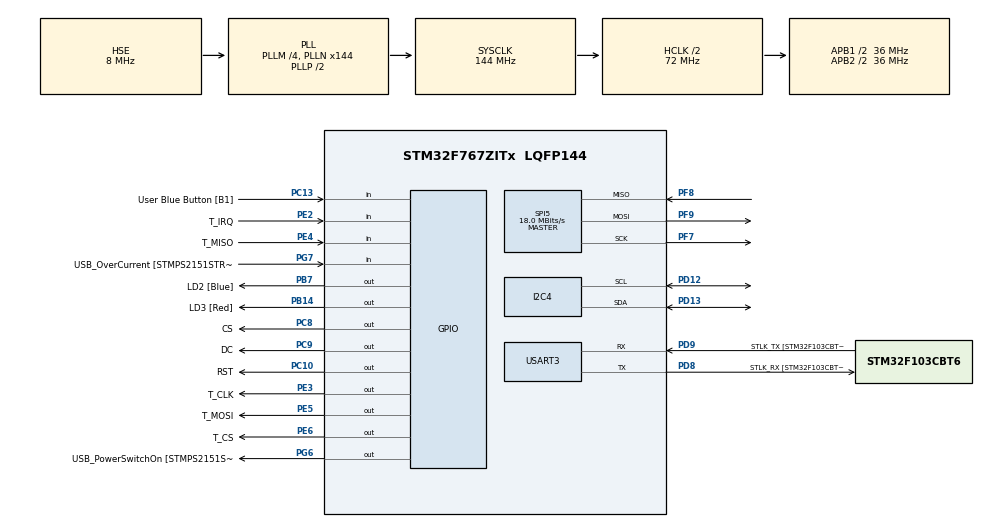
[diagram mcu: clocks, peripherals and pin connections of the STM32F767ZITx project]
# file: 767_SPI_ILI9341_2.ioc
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CORTEX_M7.ART_ACCLERATOR_ENABLE=1
CORTEX_M7.CPU_DCache=Enabled
CORTEX_M7.CPU_ICache=Enabled
CORTEX_M7.PREFETCH_ENABLE=1
I2C4.Timing=0x00808CD2
Mcu.Family=STM32F7
Mcu.Name=STM32F767ZITx
Mcu.Package=LQFP144
NVIC.PriorityGroup=NVIC_PRIORITYGROUP_2
NVIC.TIM2_IRQn=true\:2\:0\:true\:false\:true\:true\:true\:true
PA1.GPIO_Label=RMII_REF_CLK [LAN8742A-CZ-TR_REFCLK0]
PA1.Signal=ETH_REF_CLK
PA13.GPIO_Label=TMS
PA13.Mode=Serial_Wire
PA13.Signal=SYS_JTMS-SWDIO
PA14.GPIO_Label=TCK
PA14.Mode=Serial_Wire
PA14.Signal=SYS_JTCK-SWCLK
PA2.GPIO_Label=RMII_MDIO [LAN8742A-CZ-TR_MDIO]
PA2.Signal=ETH_MDIO
PA7.GPIO_Label=RMII_CRS_DV [LAN8742A-CZ-TR_CRS_DV]
PA7.Signal=ETH_CRS_DV
PB13.GPIO_Label=RMII_TXD1 [LAN8742A-CZ-TR_TXD1]
PB13.Signal=ETH_TXD1
PB14.GPIO_Label=LD3 [Red]
PB14.Signal=GPIO_Output
PB3.GPIO_Label=SWO
PB3.Signal=SYS_JTDO-SWO
PB7.GPIO_Label=LD2 [Blue]
PB7.Signal=GPIO_Output
PC1.GPIO_Label=RMII_MDC [LAN8742A-CZ-TR_MDC]
PC1.Signal=ETH_MDC
PC10.GPIO_Label=RST
PC10.GPIO_Speed=GPIO_SPEED_FREQ_VERY_HIGH
PC10.Signal=GPIO_Output
PC13.GPIO_Label=User Blue Button [B1]
PC13.Signal=GPIO_Input
PC14/OSC32_IN.Mode=LSE-External-Oscillator
PC14/OSC32_IN.Signal=RCC_OSC32_IN
PC15/OSC32_OUT.Mode=LSE-External-Oscillator
PC15/OSC32_OUT.Signal=RCC_OSC32_OUT
PC4.GPIO_Label=RMII_RXD0 [LAN8742A-CZ-TR_RXD0]
PC4.Signal=ETH_RXD0
PC5.GPIO_Label=RMII_RXD1 [LAN8742A-CZ-TR_RXD1]
PC5.Signal=ETH_RXD1
PC8.GPIO_Label=CS
PC8.GPIO_Speed=GPIO_SPEED_FREQ_VERY_HIGH
PC8.Signal=GPIO_Output
PC9.GPIO_Label=DC
PC9.GPIO_Speed=GPIO_SPEED_FREQ_VERY_HIGH
PC9.Signal=GPIO_Output
PD12.Mode=I2C
PD12.Signal=I2C4_SCL
PD13.Mode=I2C
PD13.Signal=I2C4_SDA
PD8.GPIO_Label=STLK_RX [STM32F103CBT6_PA3]
PD8.Mode=Asynchronous
PD8.Signal=USART3_TX
PD9.GPIO_Label=STLK_TX [STM32F103CBT6_PA2]
PD9.Mode=Asynchronous
PD9.Signal=USART3_RX
PE2.GPIO_Label=T_IRQ
PE2.Signal=GPIO_Input
PE3.GPIO_Label=T_CLK
PE3.GPIO_Speed=GPIO_SPEED_FREQ_VERY_HIGH
PE3.Signal=GPIO_Output
PE4.GPIO_Label=T_MISO
PE4.Signal=GPIO_Input
PE5.GPIO_Label=T_MOSI
PE5.GPIO_Speed=GPIO_SPEED_FREQ_VERY_HIGH
PE5.Signal=GPIO_Output
PE6.GPIO_Label=T_CS
PE6.GPIO_Speed=GPIO_SPEED_FREQ_VERY_HIGH
PE6.Signal=GPIO_Output
PF7.Mode=Full_Duplex_Master
PF7.Signal=SPI5_SCK
PF8.Mode=Full_Duplex_Master
PF8.Signal=SPI5_MISO
PF9.Mode=Full_Duplex_Master
PF9.Signal=SPI5_MOSI
PG11.GPIO_Label=RMII_TX_EN [LAN8742A-CZ-TR_TXEN]
PG11.Signal=ETH_TX_EN
PG13.GPIO_Label=RMII_TXD0 [LAN8742A-CZ-TR_TXD0]
PG13.Signal=ETH_TXD0
PG6.GPIO_Label=USB_PowerSwitchOn [STMPS2151STR_EN]
PG6.Signal=GPIO_Output
PG7.GPIO_Label=USB_OverCurrent [STMPS2151STR_FAULT]
PG7.Signal=GPIO_Input
PH0/OSC_IN.GPIO_Label=MCO [STM32F103CBT6_PA8]
PH0/OSC_IN.Mode=HSE-External-Clock-Source
PH0/OSC_IN.Signal=RCC_OSC_IN
PH1/OSC_OUT.Mode=HSE-External-Clock-Source
PH1/OSC_OUT.Signal=RCC_OSC_OUT
ProjectManager.HeapSize=0x200
ProjectManager.StackSize=0x400
ProjectManager.TargetToolchain=STM32CubeIDE
RCC.48MHZClocksFreq_Value=24000000
RCC.AHBCLKDivider=RCC_SYSCLK_DIV2
RCC.AHBFreq_Value=72000000
RCC.APB1CLKDivider=RCC_HCLK_DIV2
RCC.APB1Freq_Value=36000000
RCC.APB1TimFreq_Value=72000000
RCC.APB2CLKDivider=RCC_HCLK_DIV2
RCC.APB2Freq_Value=36000000
RCC.APB2TimFreq_Value=72000000
RCC.CortexFreq_Value=72000000
RCC.HCLKFreq_Value=72000000
RCC.HSE_VALUE=8000000
RCC.HSI_VALUE=16000000
RCC.PLLM=4
RCC.PLLMUL=RCC_PLL_MUL9
RCC.PLLN=144
RCC.PLLQ=6
RCC.PLLSourceVirtual=RCC_PLLSOURCE_HSE
RCC.PRESCALERUSB=RCC_USBCLKSOURCE_PLL_DIV1_5
RCC.SYSCLKFreq_VALUE=144000000
RCC.SYSCLKSource=RCC_SYSCLKSOURCE_PLLCLK
RCC.SYSCLKSourceVirtual=RCC_SYSCLKSOURCE_PLLCLK
RCC.USBFreq_Value=48000000
RCC.VCOOutputFreq_Value=288000000
SPI5.CalculateBaudRate=18.0 MBits/s
SPI5.DataSize=SPI_DATASIZE_8BIT
SPI5.Direction=SPI_DIRECTION_2LINES
SPI5.Mode=SPI_MODE_MASTER
SPI5.NSSPMode=SPI_NSS_PULSE_DISABLE
SPI5.VirtualType=VM_MASTER
TIM2.ClockDivision=TIM_CLOCKDIVISION_DIV1
TIM2.Period=60000
TIM2.Prescaler=7200
USART3.VirtualMode-Asynchronous=VM_ASYNC
VP_RNG_VS_RNG.Mode=RNG_Activate
VP_TIM2_VS_ClockSourceINT.Mode=Internal
board=NUCLEO-F767ZI

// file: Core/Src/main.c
/* USER CODE BEGIN Header */
/**
 ******************************************************************************
 * @file           : main.c
 * @brief          : Main program body
 ******************************************************************************
 * @attention
 *
 * <h2><center>&copy; Copyright (c) 2021 STMicroelectronics.
 * All rights reserved.</center></h2>
 *
 * This software component is licensed by ST under BSD 3-Clause license,
 * the "License"; You may not use this file except in compliance with the
 * License. You may obtain a copy of the License at:
 *                        opensource.org/licenses/BSD-3-Clause
 *
 ******************************************************************************
 */
/* USER CODE END Header */
#include "main.h"
#include "i2c.h"
#include "rng.h"
#include "spi.h"
#include "tim.h"
#include "usart.h"
#include "gpio.h"

/* USER CODE BEGIN Includes */
#include "stdio.h"
#include "string.h"
#include "stm32f7xx_hal.h"
#include "am2320.h"
#include "ILI9341_Touchscreen.h"

#include "ILI9341_STM32_Driver.h"
#include "ILI9341_GFX.h"

#include <stdio.h>
#include <stdarg.h>
//#include "snow_tiger.h"

#include "tot_resize.h"
/* USER CODE END Includes */

/* USER CODE BEGIN PM */
#define print(x) HAL_UART_Transmit(&huart3, (uint8_t*)x, strlen(x),1000)
/* USER CODE END PM */

/* USER CODE BEGIN PV */
/* Private variables ---------------------------------------------------------*/
uint8_t redVal = 0;
uint8_t greenVal = 0;
uint8_t blueVal = 0;
uint8_t redDecimal = 0;
uint8_t blueDecimal = 0;
uint8_t greenDecimal = 0;
uint8_t someVal = 0;
uint16_t h = 0; //color up to chart
char someValToString[50] = "";
char redPercent[50] = "";
char greenPercent[50] = "";
char bluePercent[50] = "";
uint16_t result = 0;
char resultHex[100] = "";
uint8_t toSecondPage = 0;

float human = 30.0, temp = 40.0;
uint8_t step = 0;
HAL_StatusTypeDef status;

UART_HandleTypeDef huart2;
/* USER CODE END PV */

void SystemClock_Config(void);
/* USER CODE BEGIN PFP */
/* Private function prototypes -----------------------------------------------*/
uint16_t CRC16_2(uint8_t*, uint8_t);
/* USER CODE END PFP */

/* USER CODE BEGIN 0 */
//void displayHEX(uint32_t myNumber){
//	sprintf(toHex,"0x%08X",myNumber);
//};
uint16_t rgb888_to_rgb565(uint8_t red8, uint8_t green8, uint8_t blue8) {
	// Convert 8-bit red to 5-bit red.
	uint8_t red5 = (uint8_t) ((red8 / 255.0) * 31);
	// Convert 8-bit green to 6-bit green.
	uint8_t green6 = (uint8_t) ((green8 / 255.0) * 63);
	// Convert 8-bit blue to 5-bit blue.
	uint8_t blue5 = (uint8_t) ((blue8 / 255.0) * 31);

	// Shift the red value to the left by 11 bits.
	uint16_t red5_shifted = (uint16_t) (red5) << 11;
	// Shift the green value to the left by 5 bits.
	uint16_t green6_shifted = (uint16_t) (green6) << 5;

	// Combine the red, green, and blue values.
	uint16_t rgb565 = red5_shifted | green6_shifted | blue5;

	return rgb565;
}

void vprint(const char *fmt, va_list argp) {
	char string[200];
	if (0 < vsprintf(string, fmt, argp)) // build string
			{
		HAL_UART_Transmit(&huart2, (uint8_t*) string, strlen(string), 0xffffff); // send message via UART
	}
}

void my_printf(const char *fmt, ...) // custom printf() function
{
	va_list argp;
	va_start(argp, fmt);
	vprint(fmt, argp);
	va_end(argp);
}

/* USER CODE END 0 */

int main(void) {
	/* USER CODE BEGIN 1 */
	char str[50];
	char human[100];
	char temp[100];
	uint8_t cmdBuffer[3];
	uint8_t dataBuffer[8];
	/* USER CODE END 1 */

	/* Enable I-Cache---------------------------------------------------------*/
	SCB_EnableICache();

	/* Enable D-Cache---------------------------------------------------------*/
	SCB_EnableDCache();

	/* MCU Configuration--------------------------------------------------------*/

	/* Reset of all peripherals, Initializes the Flash interface and the Systick. */
	HAL_Init();

	/* Configure the system clock */
	SystemClock_Config();

	/* Initialize all configured peripherals */
	MX_GPIO_Init();
	MX_USART3_UART_Init();
	MX_SPI5_Init();
	MX_RNG_Init();
	MX_TIM2_Init();
	MX_I2C4_Init();
	/* USER CODE BEGIN 2 */
	ILI9341_Init(); //initial driver setup to drive ili9341

	HAL_TIM_Base_Start_IT(&htim2);
	sprintf(str, "\n\rAM2320 I2C DEMO Starting...\n\r");

	HAL_UART_Transmit(&huart3, (uint8_t*) str, strlen(str), 200);

	cmdBuffer[0] = 0x03;
	cmdBuffer[1] = 0x00;
	cmdBuffer[2] = 0x04;

	Am2320_HandleTypeDef Am2320_;
	Am2320_ = am2320_Init(&hi2c4, AM2320_ADDRESS);
	float temperature, humidity;
	/* USER CODE END 2 */

	/* Infinite loop */
	/* USER CODE BEGIN WHILE */
	while (1) {
		am2320_GetTemperatureAndHumidity(&Am2320_, &temperature, &humidity);
//	 my_printf("=====================================\r\n");
//	 		my_printf("Temperature: %.1fºC\r\n", temperature);
//	 		my_printf("Humidity: %.1f%%\r\n", humidity);
		sprintf(human, "%.1f%% ", humidity);
		sprintf(temp, "%.1f C", temperature);
//	 HAL_UART_Transmit(&huart3,(uint8_t*) human,strlen(human),200);
//	 HAL_UART_Transmit(&huart3,(uint8_t*) temp,strlen(temp),200);
//	 HAL_Delay(3000);
		/* USER CODE END WHILE */

		/* USER CODE BEGIN 3 */

//	  sprintf(str,"Temperature = %4.1f\tHumidity= %4.1f\n\r",temp,human);
//	  while(__HAL_UART_GET_FLAG(&huart3, UART_FLAG_TC) == RESET) {}
//	  HAL_UART_Transmit (&huart3, (uint8_t*) str, strlen(str),200);
//	  HAL_Delay (5000); //>3000 ms
//	  HAL_GPIO_TogglePin (GPIOB, GPIO_PIN_0);
//	  HAL_I2C_Master_Transmit (&hi2c1, 0x5c<<1, cmdBuffer, 3, 200);  //wake up
//	  HAL_I2C_Master_Transmit (&hi2c1, 0x5c<<1, cmdBuffer, 3, 200); //send reading
//	  HAL_Delay (1);
//	  HAL_I2C_Master_Receive (&hi2c1, 0x5c<<1, dataBuffer, 8, 200);
//	  uint16_t Rcrc = dataBuffer[7] << 8;
//	  Rcrc += dataBuffer[6];
//	  if(Rcrc == CRC16_2(dataBuffer, 6)){
//		  uint16_t temperature = ((dataBuffer[4] & 0x7F) << 8) + dataBuffer[5];
//		  temp = temperature / 10.0;
//		  temp = (((dataBuffer[4] & 0x80) >> 7) == 1) ? (temp * (-1)): temp;
//
//		  uint16_t humidity = (dataBuffer [2] << 8) + dataBuffer[3];
//		  human = humidity / 10.0;
//
//	  }
//  }

		//----------------------------------------------------------PERFORMANCE TEST
		ILI9341_Fill_Screen(WHITE);
		ILI9341_Set_Rotation(SCREEN_HORIZONTAL_1); //�?ลับข้อความ
		ILI9341_Draw_Text(temp, 30, 30, BLACK, 2, WHITE);
		ILI9341_Draw_Text(human, 180, 30, BLACK, 2, WHITE);
		ILI9341_Draw_Filled_Circle(160, 30, 15, h); // x , y , r ,color
		/////////////////////////////////////////////////////////////////////////

		ILI9341_Draw_Filled_Circle(30, 80, 15, 0XF800);
		ILI9341_Draw_Rectangle(50, 70, 100, 20, 0XF81F);//x , y , lx, ly ,color

		//ILI9341_Draw_Rectangle(50, 70, 20,20, 0X07E0);
		if (redVal <= 10) {
			ILI9341_Draw_Rectangle(50, 70, redVal * 10, 20, 0XF800);//x , y , lx, ly ,color
			sprintf(redPercent, "%d%%", redVal * 10);
			ILI9341_Draw_Text(redPercent, 180, 70, BLACK, 2, WHITE);

//	  			redVal+=1;
//	  			redDecimal+=25;

//	  			if(redVal == 10){
//	  				redVal = 0;
//	  				redDecimal=0;
//	  			}
		}
		////////////////////////////////////green///////////////////////////////////
		ILI9341_Draw_Filled_Circle(30, 130, 15, 0X07E0);
		ILI9341_Draw_Rectangle(50, 120, 100, 20, 0XC618);//x , y , lx, ly ,color
		if (greenVal <= 10) {
			ILI9341_Draw_Rectangle(50, 120, greenVal * 10, 20, 0X07E0);	//x , y , lx, ly ,color
			sprintf(greenPercent, "%d%%", greenVal * 10);
			ILI9341_Draw_Text(greenPercent, 180, 120, BLACK, 2, WHITE);

//				greenVal+=1;
//				greenDecimal+=25;

//				if(greenVal == 11){
//					greenVal = 0;
//					greenDecimal = 0;
//				}
		}
		////////////////////////////////////blue///////////////////////////////////
		ILI9341_Draw_Filled_Circle(30, 180, 15, 0X001F);
		ILI9341_Draw_Rectangle(50, 170, 100, 20, 0X07FF);//x , y , lx, ly ,color
		if (blueVal <= 10) {
			ILI9341_Draw_Rectangle(50, 170, blueVal * 10, 20, 0X001F);//x , y , lx, ly ,color
			sprintf(bluePercent, "%d%%", blueVal * 10);
			ILI9341_Draw_Text(bluePercent, 180, 170, BLACK, 2, WHITE);
			sprintf(someValToString, "%d", blueDecimal);
			//ILI9341_Draw_Text(someValToString, 180, 210, BLACK, 2, WHITE);
//				blueVal+=1;
//				blueDecimal+=25;
//				if(blueVal == 11){
//					blueVal = 0;
//					blueDecimal =0;
//				}
		}

		result = rgb888_to_rgb565(redDecimal, greenDecimal, blueDecimal);
		sprintf(resultHex, "0X%04X", result);
		ILI9341_Draw_Text(resultHex, 180, 210, BLACK, 2, WHITE);

		sscanf(resultHex, "%x", &h);

//	  		ILI9341_Fill_Screen(WHITE);
		ILI9341_Set_Rotation(SCREEN_HORIZONTAL_1);
//	  			  		ILI9341_Draw_Text("Touchscreen", 10, 10, BLACK, 2, WHITE);
//	  			  		ILI9341_Draw_Text("Touch to draw", 10, 30, BLACK, 2, WHITE);
		ILI9341_Set_Rotation(SCREEN_VERTICAL_1);

//	  			  		while(1)
//	  			  		{

		if (TP_Touchpad_Pressed()) {

			uint16_t x_pos = 0;
			uint16_t y_pos = 0;

			HAL_GPIO_WritePin(GPIOB, LD3_Pin | LD2_Pin, GPIO_PIN_SET);

			uint16_t position_array[2];

			if (TP_Read_Coordinates(position_array) == TOUCHPAD_DATA_OK) {
				x_pos = position_array[0];
				y_pos = position_array[1];
				if ((x_pos >= 146 && x_pos <= 170)
						&& (y_pos >= 6 && y_pos <= 34))	  		//RedCheck
						{
					//ILI9341_Draw_Text("r", 180, 210, BLACK, 2, WHITE);
					redVal += 1;
					redDecimal += 25;
					if (redVal == 11) {
						redVal = 0;
						redDecimal = 0;
					}
				} else if ((x_pos >= 90 && x_pos <= 119)
						&& (y_pos >= 9 && y_pos <= 60))	  		//GreenCheck
						{
					//ILI9341_Draw_Text("g", 180, 210, BLACK, 2, WHITE);
					greenVal += 1;
					greenDecimal += 25;
					if (greenVal == 11) {
						greenVal = 0;
						greenDecimal = 0;
					}
				} else if ((x_pos >= 44 && x_pos <= 69)
						&& (y_pos >= 9 && y_pos <= 42))	  		//GreenCheck
						{
					//ILI9341_Draw_Text("b", 180, 210, BLACK, 2, WHITE);
					blueVal += 1;
					blueDecimal += 25;
					if (blueVal == 11) {
						blueVal = 0;
						blueDecimal = 0;
					}
				} else if ((x_pos >= 200 && x_pos <= 231)
						&& (y_pos >= 145 && y_pos <= 176))	  		//Center Top
						{
					//ILI9341_Draw_Text("c", 180, 210, BLACK, 2, WHITE);
					toSecondPage = 1;
				}
				ILI9341_Draw_Filled_Circle(x_pos, y_pos, 2, BLACK);

				ILI9341_Set_Rotation(SCREEN_HORIZONTAL_1);
//	  			  					char counter_buff[30];
//	  			  					sprintf(counter_buff, "POS X: %.3d", x_pos);
//	  			  					ILI9341_Draw_Text(counter_buff, 10, 80, BLACK, 2, WHITE);
//	  			  					sprintf(counter_buff, "POS Y: %.3d", y_pos);
//	  			  					ILI9341_Draw_Text(counter_buff, 10, 120, BLACK, 2, WHITE);
				ILI9341_Set_Rotation(SCREEN_VERTICAL_1);
			}

//	  			  					ILI9341_Draw_Pixel(x_pos, y_pos, BLACK);
		} else {
			HAL_GPIO_WritePin(GPIOB, LD3_Pin | LD2_Pin, GPIO_PIN_RESET);
		}

//	  			  		}

//	  		ILI9341_Fill_Screen(WHITE);
		while (toSecondPage) {
//	  			  			ILI9341_Fill_Screen(WHITE);
			ILI9341_Draw_Image((const char*) image_data_tot, SCREEN_VERTICAL_1);
			ILI9341_Set_Rotation(SCREEN_HORIZONTAL_1);
			ILI9341_Draw_Text("Group No.11", 135, 40, h, 2, WHITE);
			ILI9341_Draw_Text("Sittha", 135, 80, h, 2, WHITE);
			ILI9341_Draw_Text("Onsaard", 135, 120, h, 2, WHITE);
			ILI9341_Draw_Text("64010889", 135, 160, h, 2, WHITE);
			ILI9341_Set_Rotation(SCREEN_HORIZONTAL_1);
			if (TP_Touchpad_Pressed()) {

				uint16_t x_pos = 0;
				uint16_t y_pos = 0;

				HAL_GPIO_WritePin(GPIOB, LD3_Pin | LD2_Pin, GPIO_PIN_SET);

				uint16_t position_array[2];
				if (TP_Read_Coordinates(position_array) == TOUCHPAD_DATA_OK) {
					x_pos = position_array[0];
					y_pos = position_array[1];
					if ((x_pos >= 83 && x_pos <= 178)
							&& (y_pos >= 8 && y_pos <= 99))	  		//IMG check
							{
						toSecondPage = 0;
					}

				}
			}
		}
		HAL_Delay(200);

	}
	/* USER CODE END 3 */
}

void SystemClock_Config(void) {
	RCC_OscInitTypeDef RCC_OscInitStruct = { 0 };
	RCC_ClkInitTypeDef RCC_ClkInitStruct = { 0 };

	/** Configure LSE Drive Capability
	 */
	HAL_PWR_EnableBkUpAccess();

	/** Configure the main internal regulator output voltage
	 */
	__HAL_RCC_PWR_CLK_ENABLE();
	__HAL_PWR_VOLTAGESCALING_CONFIG(PWR_REGULATOR_VOLTAGE_SCALE3);

	/** Initializes the RCC Oscillators according to the specified parameters
	 * in the RCC_OscInitTypeDef structure.
	 */
	RCC_OscInitStruct.OscillatorType = RCC_OSCILLATORTYPE_HSE;
	RCC_OscInitStruct.HSEState = RCC_HSE_BYPASS;
	RCC_OscInitStruct.PLL.PLLState = RCC_PLL_ON;
	RCC_OscInitStruct.PLL.PLLSource = RCC_PLLSOURCE_HSE;
	RCC_OscInitStruct.PLL.PLLM = 4;
	RCC_OscInitStruct.PLL.PLLN = 144;
	RCC_OscInitStruct.PLL.PLLP = RCC_PLLP_DIV2;
	RCC_OscInitStruct.PLL.PLLQ = 6;
	RCC_OscInitStruct.PLL.PLLR = 2;
	if (HAL_RCC_OscConfig(&RCC_OscInitStruct) != HAL_OK) {
		Error_Handler();
	}

	/** Initializes the CPU, AHB and APB buses clocks
	 */
	RCC_ClkInitStruct.ClockType = RCC_CLOCKTYPE_HCLK | RCC_CLOCKTYPE_SYSCLK
			| RCC_CLOCKTYPE_PCLK1 | RCC_CLOCKTYPE_PCLK2;
	RCC_ClkInitStruct.SYSCLKSource = RCC_SYSCLKSOURCE_PLLCLK;
	RCC_ClkInitStruct.AHBCLKDivider = RCC_SYSCLK_DIV2;
	RCC_ClkInitStruct.APB1CLKDivider = RCC_HCLK_DIV2;
	RCC_ClkInitStruct.APB2CLKDivider = RCC_HCLK_DIV2;

	if (HAL_RCC_ClockConfig(&RCC_ClkInitStruct, FLASH_LATENCY_2) != HAL_OK) {
		Error_Handler();
	}
}

/* USER CODE BEGIN 4 */
//void HAL_TIM_PeriodElapsedCallback(TIM_HandleTypeDef *htim)
//{
//if(htim == &htim2)
//{
//	toSecondPage = 0;
//}
//}
/* USER CODE END 4 */

void Error_Handler(void) {
	while (1) {
	}
}
